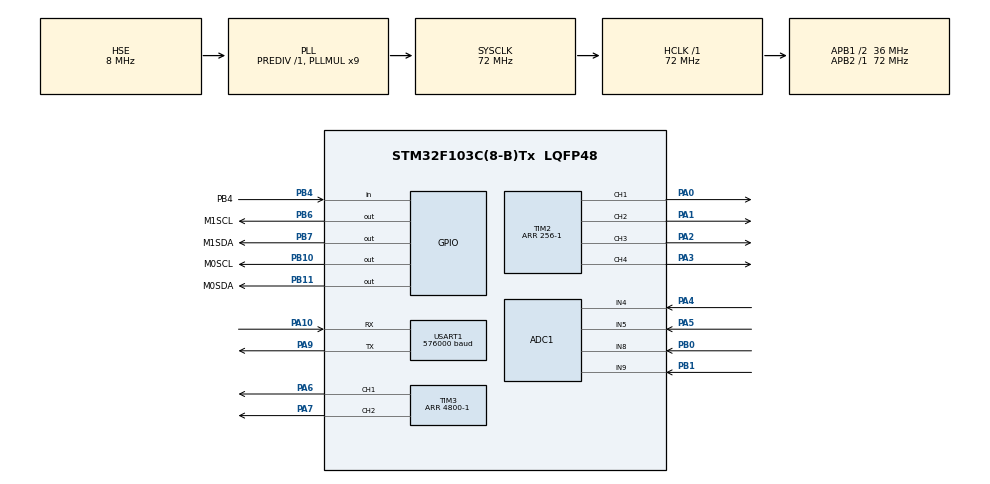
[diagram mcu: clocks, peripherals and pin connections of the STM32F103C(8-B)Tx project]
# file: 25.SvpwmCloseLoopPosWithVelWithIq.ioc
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ADC1.Channel-0\#ChannelRegularConversion=ADC_CHANNEL_8
ADC1.Channel-1\#ChannelRegularConversion=ADC_CHANNEL_9
ADC1.Channel-2\#ChannelRegularConversion=ADC_CHANNEL_4
ADC1.Channel-3\#ChannelRegularConversion=ADC_CHANNEL_5
ADC1.ContinuousConvMode=ENABLE
ADC1.NbrOfConversion=4
ADC1.NbrOfConversionFlag=1
ADC1.Rank-0\#ChannelRegularConversion=1
ADC1.Rank-1\#ChannelRegularConversion=2
ADC1.Rank-2\#ChannelRegularConversion=3
ADC1.Rank-3\#ChannelRegularConversion=4
ADC1.SamplingTime-0\#ChannelRegularConversion=ADC_SAMPLETIME_1CYCLE_5
ADC1.SamplingTime-1\#ChannelRegularConversion=ADC_SAMPLETIME_1CYCLE_5
ADC1.SamplingTime-2\#ChannelRegularConversion=ADC_SAMPLETIME_1CYCLE_5
ADC1.SamplingTime-3\#ChannelRegularConversion=ADC_SAMPLETIME_1CYCLE_5
ADC1.master=1
Dma.ADC1.1.Direction=DMA_PERIPH_TO_MEMORY
Dma.ADC1.1.Instance=DMA1_Channel1
Dma.ADC1.1.MemDataAlignment=DMA_MDATAALIGN_HALFWORD
Dma.ADC1.1.MemInc=DMA_MINC_ENABLE
Dma.ADC1.1.Mode=DMA_CIRCULAR
Dma.ADC1.1.PeriphDataAlignment=DMA_PDATAALIGN_HALFWORD
Dma.ADC1.1.PeriphInc=DMA_PINC_DISABLE
Dma.ADC1.1.Priority=DMA_PRIORITY_LOW
Dma.Request0=USART1_TX
Dma.Request1=ADC1
Dma.USART1_TX.0.Direction=DMA_MEMORY_TO_PERIPH
Dma.USART1_TX.0.Instance=DMA1_Channel4
Dma.USART1_TX.0.MemDataAlignment=DMA_MDATAALIGN_BYTE
Dma.USART1_TX.0.MemInc=DMA_MINC_ENABLE
Dma.USART1_TX.0.Mode=DMA_NORMAL
Dma.USART1_TX.0.PeriphDataAlignment=DMA_PDATAALIGN_BYTE
Dma.USART1_TX.0.PeriphInc=DMA_PINC_DISABLE
Dma.USART1_TX.0.Priority=DMA_PRIORITY_LOW
Mcu.Family=STM32F1
Mcu.Name=STM32F103C(8-B)Tx
Mcu.Package=LQFP48
NVIC.PriorityGroup=NVIC_PRIORITYGROUP_4
NVIC.TIM4_IRQn=true\:0\:0\:false\:false\:true\:true\:true\:true
NVIC.USART1_IRQn=true\:0\:0\:false\:false\:true\:true\:true\:true
PA0-WKUP.Signal=S_TIM2_CH1_ETR
PA1.Signal=S_TIM2_CH2
PA10.Mode=Asynchronous
PA10.Signal=USART1_RX
PA13.Mode=Serial_Wire
PA13.Signal=SYS_JTMS-SWDIO
PA14.Mode=Serial_Wire
PA14.Signal=SYS_JTCK-SWCLK
PA2.Signal=S_TIM2_CH3
PA3.Signal=S_TIM2_CH4
PA4.Signal=ADCx_IN4
PA5.Signal=ADCx_IN5
PA6.Signal=S_TIM3_CH1
PA7.Signal=S_TIM3_CH2
PA9.Mode=Asynchronous
PA9.Signal=USART1_TX
PB0.Signal=ADCx_IN8
PB1.Signal=ADCx_IN9
PB10.GPIO_Label=M0SCL
PB10.GPIO_ModeDefaultOutputPP=GPIO_MODE_OUTPUT_OD
PB10.GPIO_PuPd=GPIO_NOPULL
PB10.GPIO_Speed=GPIO_SPEED_FREQ_HIGH
PB10.PinState=GPIO_PIN_SET
PB10.Signal=GPIO_Output
PB11.GPIO_Label=M0SDA
PB11.GPIO_ModeDefaultOutputPP=GPIO_MODE_OUTPUT_OD
PB11.GPIO_PuPd=GPIO_NOPULL
PB11.GPIO_Speed=GPIO_SPEED_FREQ_HIGH
PB11.PinState=GPIO_PIN_SET
PB11.Signal=GPIO_Output
PB4.GPIO_Label=PB4
PB4.GPIO_PuPd=GPIO_PULLUP
PB4.Signal=GPIO_Input
PB6.GPIO_Label=M1SCL
PB6.GPIO_ModeDefaultOutputPP=GPIO_MODE_OUTPUT_OD
PB6.GPIO_PuPd=GPIO_NOPULL
PB6.GPIO_Speed=GPIO_SPEED_FREQ_HIGH
PB6.PinState=GPIO_PIN_SET
PB6.Signal=GPIO_Output
PB7.GPIO_Label=M1SDA
PB7.GPIO_ModeDefaultOutputPP=GPIO_MODE_OUTPUT_OD
PB7.GPIO_PuPd=GPIO_NOPULL
PB7.GPIO_Speed=GPIO_SPEED_FREQ_HIGH
PB7.PinState=GPIO_PIN_SET
PB7.Signal=GPIO_Output
PD0-OSC_IN.Mode=HSE-External-Oscillator
PD0-OSC_IN.Signal=RCC_OSC_IN
PD1-OSC_OUT.Mode=HSE-External-Oscillator
PD1-OSC_OUT.Signal=RCC_OSC_OUT
ProjectManager.HeapSize=0x200
ProjectManager.StackSize=0x400
ProjectManager.TargetToolchain=STM32CubeIDE
RCC.ADCPresc=RCC_ADCPCLK2_DIV6
RCC.AHBFreq_Value=72000000
RCC.APB1CLKDivider=RCC_HCLK_DIV2
RCC.APB1Freq_Value=36000000
RCC.APB1TimFreq_Value=72000000
RCC.APB2Freq_Value=72000000
RCC.APB2TimFreq_Value=72000000
RCC.HCLKFreq_Value=72000000
RCC.PLLMUL=RCC_PLL_MUL9
RCC.PLLSourceVirtual=RCC_PLLSOURCE_HSE
RCC.SYSCLKFreq_VALUE=72000000
RCC.SYSCLKSource=RCC_SYSCLKSOURCE_PLLCLK
RCC.USBFreq_Value=72000000
SH.ADCx_IN4.0=ADC1_IN4,IN4
SH.ADCx_IN5.0=ADC1_IN5,IN5
SH.ADCx_IN8.0=ADC1_IN8,IN8
SH.ADCx_IN9.0=ADC1_IN9,IN9
SH.S_TIM2_CH1_ETR.0=TIM2_CH1,PWM Generation1 CH1
SH.S_TIM2_CH2.0=TIM2_CH2,PWM Generation2 CH2
SH.S_TIM2_CH3.0=TIM2_CH3,PWM Generation3 CH3
SH.S_TIM2_CH4.0=TIM2_CH4,PWM Generation4 CH4
SH.S_TIM3_CH1.0=TIM3_CH1,PWM Generation1 CH1
SH.S_TIM3_CH2.0=TIM3_CH2,PWM Generation2 CH2
TIM2.Channel-PWM\ Generation1\ CH1=TIM_CHANNEL_1
TIM2.Channel-PWM\ Generation2\ CH2=TIM_CHANNEL_2
TIM2.Channel-PWM\ Generation3\ CH3=TIM_CHANNEL_3
TIM2.Channel-PWM\ Generation4\ CH4=TIM_CHANNEL_4
TIM2.CounterMode=TIM_COUNTERMODE_CENTERALIGNED1
TIM2.OCMode_PWM-PWM\ Generation1\ CH1=TIM_OCMODE_PWM2
TIM2.OCMode_PWM-PWM\ Generation2\ CH2=TIM_OCMODE_PWM2
TIM2.OCMode_PWM-PWM\ Generation3\ CH3=TIM_OCMODE_PWM2
TIM2.OCMode_PWM-PWM\ Generation4\ CH4=TIM_OCMODE_PWM2
TIM2.Period=256-1
TIM3.Channel-PWM\ Generation1\ CH1=TIM_CHANNEL_1
TIM3.Channel-PWM\ Generation2\ CH2=TIM_CHANNEL_2
TIM3.CounterMode=TIM_COUNTERMODE_CENTERALIGNED1
TIM3.OCMode_PWM-PWM\ Generation1\ CH1=TIM_OCMODE_PWM2
TIM3.OCMode_PWM-PWM\ Generation2\ CH2=TIM_OCMODE_PWM2
TIM3.Period=4800-1
TIM4.Period=1000-1
TIM4.Prescaler=72-1
USART1.BaudRate=576000
USART1.VirtualMode=VM_ASYNC
VP_TIM2_VS_ClockSourceINT.Mode=Internal
VP_TIM3_VS_ClockSourceINT.Mode=Internal
VP_TIM4_VS_ClockSourceINT.Mode=Internal
board=custom

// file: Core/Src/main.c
/* USER CODE BEGIN Header */
/**
  ******************************************************************************
  * @file           : main.c
  * @brief          : Main program body
  ******************************************************************************
  * @attention
  *
  * Copyright (c) 2025 STMicroelectronics.
  * All rights reserved.
  *
  * This software is licensed under terms that can be found in the LICENSE file
  * in the root directory of this software component.
  * If no LICENSE file comes with this software, it is provided AS-IS.
  *
  ******************************************************************************
  */
/* USER CODE END Header */
#include "main.h"
#include "adc.h"
#include "dma.h"
#include "tim.h"
#include "usart.h"
#include "gpio.h"

/* USER CODE BEGIN Includes */
/*
 * 教学说明：
 * 下方这些 hh 开头的头文件是用户自己写的控制层，和 CubeMX 生成的
 * adc/tim/usart/gpio 等外设初始化层分开。
 *
 * 本文件作为入口，把两层连接起来：
 * - CubeMX 层负责初始化 STM32 外设；
 * - hh 控制层负责读取传感器、运行 FOC、输出 PWM。
 */
#include "../hhSerial/hhSerial.h"
#include "../hhPwm/hhPwm.h"
#include "../hhFoc/hhFoc.h"
#include "../hhAS5600/hhAS5600.h"
#include "../hhGetIq/hhGetIq.h"
#include"math.h"
/* USER CODE END Includes */

/* USER CODE BEGIN PV */
/*
 * 1 ms 控制节拍标志：
 * TIM4 的中断真正发生在中断上下文中；回调里只把标志置 1，
 * 主循环看到标志后再执行传感器刷新和闭环控制。
 * 这种写法能避免在中断里运行较重的 FOC 计算。
 */
uint8_t  Flag_1ms=0;

/**
 * @brief HAL 定时器周期溢出回调。
 *
 * 所在流程：
 * 1. `hhFocInit()` 启动 TIM4 基本定时器中断；
 * 2. `TIM4_IRQHandler()` 调用 HAL 定时器中断处理；
 * 3. HAL 在更新事件发生后调用本函数；
 * 4. 本函数把 `Flag_1ms` 置 1；
 * 5. `main()` 主循环在非中断上下文执行真正控制计算。
 *
 * @param htim 触发回调的定时器句柄。
 */
void HAL_TIM_PeriodElapsedCallback(TIM_HandleTypeDef *htim){
	if(htim==&htim4){
		Flag_1ms=1;
	}
}
/* USER CODE END PV */

void SystemClock_Config(void);

/* USER CODE BEGIN 0 */
/* 串口打印分频计数器：主循环很快，不能每次循环都打印，否则串口会占满时间。 */
int CountOutPut = 0;
/* USER CODE END 0 */

int main(void)
{

  /* MCU Configuration--------------------------------------------------------*/

  /* Reset of all peripherals, Initializes the Flash interface and the Systick. */
  HAL_Init();

  /* Configure the system clock */
  SystemClock_Config();

  /* Initialize all configured peripherals */
  MX_GPIO_Init();
  MX_DMA_Init();
  MX_USART1_UART_Init();
  MX_TIM2_Init();
  MX_TIM4_Init();
  MX_ADC1_Init();
  MX_TIM3_Init();
  /* USER CODE BEGIN 2 */
  /*
   * 用户控制层初始化：
   * - Power_supply 是母线电压，影响电压限幅和 PWM 换算；
   * - 极对数 7 用于机械角度 -> 电角度；
   * - 方向 -1 用于把 AS5600 读数方向修正成控制方向；
   * - 初始选择 SVPWM 调制。
   */
  float Power_supply =12.6;
  hhFocInit(Power_supply,7, -1,PWM_MODE_SVPWM);
  /*
   * 三级串级闭环参数：
   * 位置环输出目标速度，速度环输出目标 Iq，Iq 环输出 Uq。
   * 这里的 limit 注释可按控制量理解：
   * - 位置环 limit 限定目标速度；
   * - 速度环 limit 限定目标 Iq；
   * - Iq 环 limit 限定输出电压。
   */
  hhSetCloseLoopPos_PIDM0(1.0f, 0.0f, 0.0f,100000.0f,30.0f);//限定最大速度是30
  hhSetCloseLoopVel_PIDM0(0.02f, 1.0f, 0.0f,30.0f,0.5f);//限定最大力矩是0.5
  hhSetCloseLoopIq_PIDM0(3.0f, 20.0f, 0.0f,10000.0f,Power_supply/2);
  /* RetFloat1 保存串口收到的第一个浮点数，当前作为 M0 的目标位置。 */
  float RetFloat1;
//  float RetFloat2;
  /* USER CODE END 2 */

  /* Infinite loop */
  /* USER CODE BEGIN WHILE */
  while (1)
  {
	  /*
	   * 串口目标值读取：
	   * `hhSerial.c` 的 USART1 空闲中断回调会更新 ReceivedFloat1，
	   * 这里每次主循环读取最新值，不需要阻塞等待串口。
	   */
	  RetFloat1= GetSerialRetFloat1();
	  if(Flag_1ms==1){
		  /*
		   * 1 ms 控制主流程：
		   * 1. 更新 AS5600 角度/速度和 ADC/Iq；
		   * 2. 运行 M0 的位置-速度-Iq 三级串级闭环；
		   * 3. 清除节拍标志，等待下一次 TIM4 中断。
		   */
		  UpdateAllSensor();
		  hhCloseLoopPos_WithVelIqM0(RetFloat1);
		  Flag_1ms=0;
	  }
	  CountOutPut++;
	  if (CountOutPut >= 10000) {
		/* 慢速打印调试量；当前打印 M0 滤波 Iq，也可以改成速度等变量观察闭环。 */
		Serial_Printf("%f\r\n", GetFilterIqM0());//GetFilterV_M0()
	    CountOutPut = 0;
	  }
    /* USER CODE END WHILE */

  }
}

/**
  * @brief 系统时钟配置。
  *
  * 本工程使用外部高速晶振 HSE，经 PLL 倍频到 72 MHz。
  * 这个 72 MHz 是后面所有时间尺度的基础：
  * - TIM4 用它分频得到 1 ms 控制节拍；
  * - TIM2/TIM3 用它产生 PWM 计数；
  * - ADC 时钟也从 APB2 分频得到。
  *
  * 如果修改这里的 PLL 或分频参数，要同步重新检查 TIM4 的 1 ms 周期、
  * PWM 频率和 ADC 采样速度。
  *
  * System Clock Configuration
  * @retval None
  */
void SystemClock_Config(void)
{
  RCC_OscInitTypeDef RCC_OscInitStruct = {0};
  RCC_ClkInitTypeDef RCC_ClkInitStruct = {0};
  RCC_PeriphCLKInitTypeDef PeriphClkInit = {0};

  /** Initializes the RCC Oscillators according to the specified parameters
  * in the RCC_OscInitTypeDef structure.
  */
  RCC_OscInitStruct.OscillatorType = RCC_OSCILLATORTYPE_HSE;
  RCC_OscInitStruct.HSEState = RCC_HSE_ON;
  RCC_OscInitStruct.HSEPredivValue = RCC_HSE_PREDIV_DIV1;
  RCC_OscInitStruct.HSIState = RCC_HSI_ON;
  RCC_OscInitStruct.PLL.PLLState = RCC_PLL_ON;
  RCC_OscInitStruct.PLL.PLLSource = RCC_PLLSOURCE_HSE;
  RCC_OscInitStruct.PLL.PLLMUL = RCC_PLL_MUL9;
  if (HAL_RCC_OscConfig(&RCC_OscInitStruct) != HAL_OK)
  {
    Error_Handler();
  }

  /** Initializes the CPU, AHB and APB buses clocks
  */
  RCC_ClkInitStruct.ClockType = RCC_CLOCKTYPE_HCLK|RCC_CLOCKTYPE_SYSCLK
                              |RCC_CLOCKTYPE_PCLK1|RCC_CLOCKTYPE_PCLK2;
  RCC_ClkInitStruct.SYSCLKSource = RCC_SYSCLKSOURCE_PLLCLK;
  RCC_ClkInitStruct.AHBCLKDivider = RCC_SYSCLK_DIV1;
  RCC_ClkInitStruct.APB1CLKDivider = RCC_HCLK_DIV2;
  RCC_ClkInitStruct.APB2CLKDivider = RCC_HCLK_DIV1;

  if (HAL_RCC_ClockConfig(&RCC_ClkInitStruct, FLASH_LATENCY_2) != HAL_OK)
  {
    Error_Handler();
  }
  PeriphClkInit.PeriphClockSelection = RCC_PERIPHCLK_ADC;
  PeriphClkInit.AdcClockSelection = RCC_ADCPCLK2_DIV6;
  if (HAL_RCCEx_PeriphCLKConfig(&PeriphClkInit) != HAL_OK)
  {
    Error_Handler();
  }
}

void Error_Handler(void)
{
  __disable_irq();
  while (1)
  {
  }
}

#ifdef  USE_FULL_ASSERT
/**
  * @brief  Reports the name of the source file and the source line number
  *         where the assert_param error has occurred.
  * @param  file: pointer to the source file name
  * @param  line: assert_param error line source number
  * @retval None
  */
void assert_failed(uint8_t *file, uint32_t line)
{
  /* USER CODE BEGIN 6 */
	//	野生绿波电龙�???518379509
	//	qq�???799382581
  /* User can add his own implementation to report the file name and line number,
     ex: printf("Wrong parameters value: file %s on line %d\r\n", file, line) */
  /* USER CODE END 6 */
}
#endif /* USE_FULL_ASSERT */
